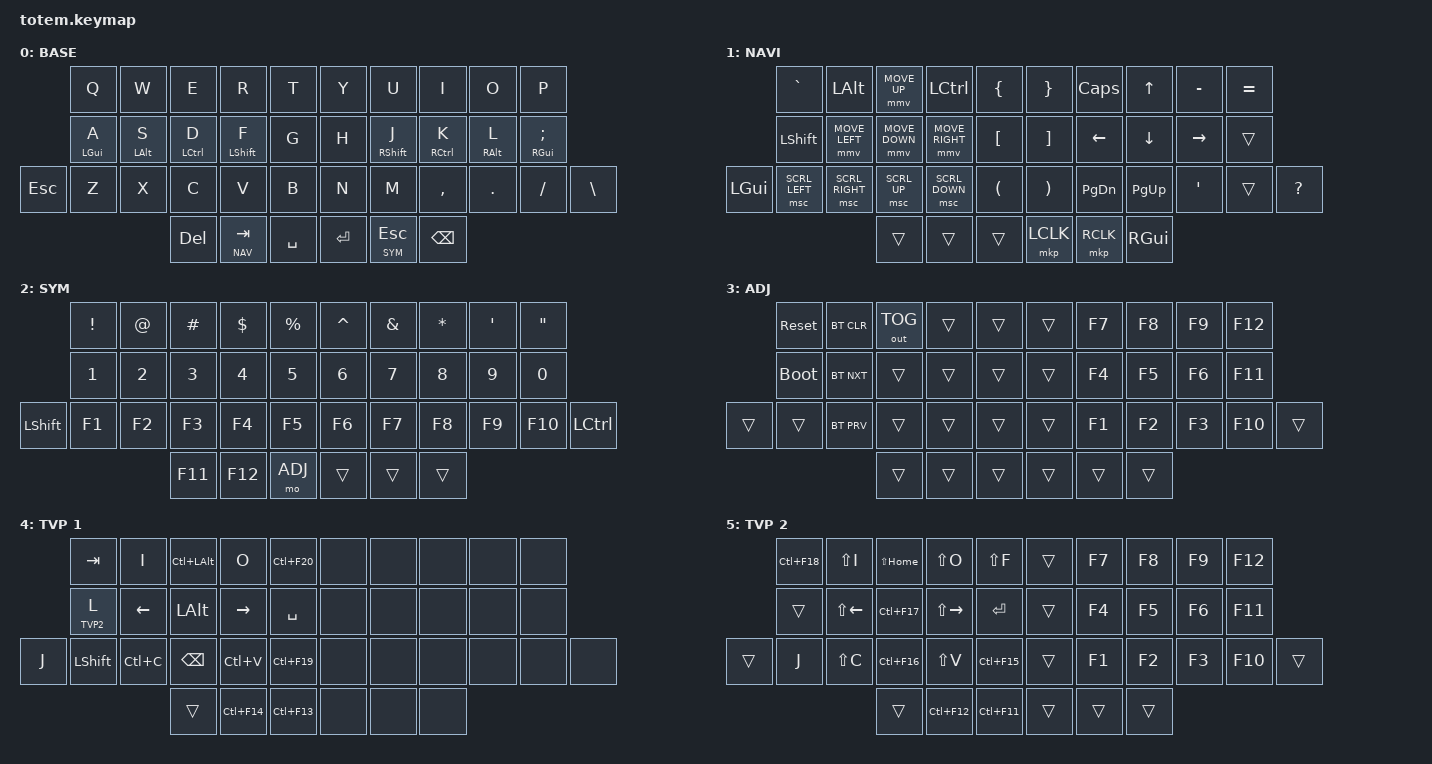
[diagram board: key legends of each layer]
//
//                                                        ▀▀▀▀▀     ▀▀▀▀▀          ▀▀█▀▀
//                                                        ▄▀▀▀▄  ▄  ▄▀▀▀▄  ▄  ▄▀▀▀▄  █  ▄▀▀▀▄
//                                                        █   █  █  █   █  █  █   █  █  █   █
//                                                         ▀▀▀   █   ▀▀▀   █   ▀▀▀   ▀   ▀▀▀
//                                                               █      ▄▄▄█▄▄▄    █   █  
//                                                               ▀      █  █  █     █▄█
//                                                             ▀▀▀▀▀    █  █  █      ▀
//                                                                      ▀  ▀  ▀
//
// ▄▄▄▄▄▄▄▄▄▄▄▄▄▄▄▄▄▄▄▄▄▄▄▄▄▄▄▄▄▄▄▄▄▄▄▄▄▄▄▄▄▄▄▄▄▄▄▄▄▄▄▄▄▄▄▄▄▄▄▄▄▄▄▄▄▄▄▄▄▄▄▄▄▄▄▄▄▄▄▄▄▄▄▄▄▄▄▄▄▄▄▄▄▄▄▄▄▄▄▄▄▄▄▄▄▄▄▄▄▄▄▄▄▄▄▄▄▄▄▄▄▄▄▄▄▄▄▄▄▄▄▄▄▄▄▄▄▄▄▄▄▄▄▄▄▄▄▄▄

#include <behaviors.dtsi>
#include <dt-bindings/zmk/bt.h>
#include <dt-bindings/zmk/keys.h>
#include <dt-bindings/zmk/outputs.h>
#include <dt-bindings/zmk/pointing.h>

#define BASE 0
#define NAV  1
#define SYM  2
#define ADJ  3
#define TVP1 4
#define TVP2 5

&mt {
    quick-tap-ms = <100>;
    global-quick-tap;
    flavor = "tap-preferred";
    tapping-term-ms = <170>;
};

/ {
    combos {
        compatible = "zmk,combos";

        combo_esc {
            timeout-ms = <50>;
            key-positions = <0 1>;
            bindings = <&kp ESC>;
        };

        combo_tvp {
            timeout-ms = <100>;
            key-positions = <11 12 13>;
            bindings = <&tog TVP1>;
        };
    };

    macros {
        gif: gif {
            label = "giphy";
            compatible = "zmk,behavior-macro";
            #binding-cells = <0>;
            bindings =
                <&macro_press>,
                <&kp LSHFT>,
                <&macro_tap>,
                <&kp N2>,
                <&macro_release>,
                <&kp LSHFT>,
                <&macro_tap>,
                <&kp G &kp I &kp F>;
        };
    };

    keymap {
        compatible = "zmk,keymap";

        // ▄▄▄▄▄▄▄▄▄▄▄▄▄▄▄▄▄▄▄▄▄▄▄▄▄▄▄▄▄▄▄▄▄▄▄▄▄▄▄▄▄▄▄▄▄▄▄▄▄▄▄▄▄▄▄▄▄▄▄▄▄▄▄▄▄▄▄▄▄▄▄▄▄▄▄▄▄▄▄▄▄▄▄▄▄▄▄▄▄▄▄▄▄▄▄▄▄▄▄▄▄▄▄▄▄▄▄▄▄▄▄▄▄▄▄▄▄▄▄▄▄▄▄▄▄▄▄▄▄▄▄▄▄▄▄▄▄▄▄▄▄▄▄▄▄▄▄▄▄

        base_layer {
            // ┏━━━━━━━━━━━━━━━━━━━━━━━━━━━━━━━━━━━━━━━┓

            label = "BASE";

            // ┗━━━━━━━━━━━━━━━━━━━━━━━━━━━━━━━━━━━━━━━┛
            //             ┏━━━━━━━━━━━┳━━━━━━━━━━━┳━━━━━━━━━━━┳━━━━━━━━━━━┳━━━━━━━━━━━┓   ┏━━━━━━━━━━━┳━━━━━━━━━━━┳━━━━━━━━━━━┳━━━━━━━━━━━┳━━━━━━━━━━━┓
            //             ┃     Q     ┃     W     ┃     E     ┃     R     ┃     T     ┃   ┃     Y     ┃     U     ┃     I     ┃     O     ┃     P     ┃
            //             ┣━━━━━━━━━━━╋━━━━━━━━━━━╋━━━━━━━━━━━╋━━━━━━━━━━━╋━━━━━━━━━━━┫   ┣━━━━━━━━━━━╋━━━━━━━━━━━╋━━━━━━━━━━━╋━━━━━━━━━━━╋━━━━━━━━━━━┫
            //             ┃  A (cmd)  ┃  S (alt)  ┃  D (ctrl) ┃ F (shift) ┃     G     ┃   ┃     H     ┃ J (shift) ┃  K (ctrl) ┃  L (alt)  ┃  ; (cmd)  ┃
            // ┏━━━━━━━━━━━╋━━━━━━━━━━━╋━━━━━━━━━━━╋━━━━━━━━━━━╋━━━━━━━━━━━╋━━━━━━━━━━━┫   ┣━━━━━━━━━━━╋━━━━━━━━━━━╋━━━━━━━━━━━╋━━━━━━━━━━━╋━━━━━━━━━━━╋━━━━━━━━━━━┓
            // ┃    ESC    ┃     Z     ┃     X     ┃     C     ┃     V     ┃     B     ┃   ┃     N     ┃     M     ┃   ,(<)    ┃   .(>)    ┃   /(?)    ┃   \(|)    ┃
            // ┗━━━━━━━━━━━┻━━━━━━━━━━━┻━━━━━━━━━━━╋━━━━━━━━━━━╋━━━━━━━━━━━╋━━━━━━━━━━━┫   ┣━━━━━━━━━━━╋━━━━━━━━━━━╋━━━━━━━━━━━╋━━━━━━━━━━━┻━━━━━━━━━━━┻━━━━━━━━━━━┛
            //                                     ┃    DEL    ┃   TAB(1)  ┃    SPC    ┃   ┃   ENTER   ┃   ESC(2)  ┃   BSPC    ┃
            //                                     ┗━━━━━━━━━━━┻━━━━━━━━━━━┻━━━━━━━━━━━┛   ┗━━━━━━━━━━━┻━━━━━━━━━━━┻━━━━━━━━━━━┛

            bindings = <
            &kp Q       &kp W       &kp E        &kp R        &kp T        &kp Y    &kp U        &kp I        &kp O       &kp P
            &mt LGUI A  &mt LALT S  &mt LCTRL D  &mt LSHFT F  &kp G        &kp H    &mt RSHFT J  &mt RCTRL K  &mt RALT L  &mt RGUI SEMI
&kp ESCAPE  &kp Z       &kp X       &kp C        &kp V        &kp B        &kp N    &kp M        &kp COMMA    &kp DOT     &kp SLASH       &kp BSLH
                                    &kp DEL      &lt NAV TAB  &kp SPACE    &kp RET  &lt SYM ESC  &kp BSPC
            >;
        };

        // ▄▄▄▄▄▄▄▄▄▄▄▄▄▄▄▄▄▄▄▄▄▄▄▄▄▄▄▄▄▄▄▄▄▄▄▄▄▄▄▄▄▄▄▄▄▄▄▄▄▄▄▄▄▄▄▄▄▄▄▄▄▄▄▄▄▄▄▄▄▄▄▄▄▄▄▄▄▄▄▄▄▄▄▄▄▄▄▄▄▄▄▄▄▄▄▄▄▄▄▄▄▄▄▄▄▄▄▄▄▄▄▄▄▄▄▄▄▄▄▄▄▄▄▄▄▄▄▄▄▄▄▄▄▄▄▄▄▄▄▄▄▄▄▄▄▄▄▄▄

        nav_layer {
            // ┏━━━━━━━━━━━━━━━━━━━━━━━━━━━━━━━━━━━━━━━┓

            label = "NAVI";

            // ┗━━━━━━━━━━━━━━━━━━━━━━━━━━━━━━━━━━━━━━━┛
            //             ┏━━━━━━━━━━━┳━━━━━━━━━━━┳━━━━━━━━━━━┳━━━━━━━━━━━┳━━━━━━━━━━━┓   ┏━━━━━━━━━━━┳━━━━━━━━━━━┳━━━━━━━━━━━┳━━━━━━━━━━━┳━━━━━━━━━━━┓
            //             ┃    ~(`)   ┃    ALT    ┃    M_UP   ┃   CTRL    ┃     {     ┃   ┃     }     ┃  CAPSLOCK ┃    UP     ┃   -(_)    ┃  = (+)    ┃
            //             ┣━━━━━━━━━━━╋━━━━━━━━━━━╋━━━━━━━━━━━╋━━━━━━━━━━━╋━━━━━━━━━━━┫   ┣━━━━━━━━━━━╋━━━━━━━━━━━╋━━━━━━━━━━━╋━━━━━━━━━━━╋━━━━━━━━━━━┫
            //             ┃   SHIFT   ┃   M_LEFT  ┃    M_DOWN ┃   M_RIGHT ┃     [     ┃   ┃     ]     ┃   LEFT    ┃    DOWN   ┃   RIGHT   ┃           ┃
            // ┏━━━━━━━━━━━╋━━━━━━━━━━━╋━━━━━━━━━━━╋━━━━━━━━━━━╋━━━━━━━━━━━╋━━━━━━━━━━━┫   ┣━━━━━━━━━━━╋━━━━━━━━━━━╋━━━━━━━━━━━╋━━━━━━━━━━━╋━━━━━━━━━━━╋━━━━━━━━━━━┓
            // ┃    CMD    ┃ SCRL_LEFT ┃ SCRL_RIGHT┃  SCRL_UP  ┃ SCRL_DOWN ┃     (     ┃   ┃     )     ┃  PG DOWN  ┃   PG UP   ┃   '(")    ┃           ┃     ?     ┃
            // ┗━━━━━━━━━━━┻━━━━━━━━━━━┻━━━━━━━━━━━╋━━━━━━━━━━━╋━━━━━━━━━━━╋━━━━━━━━━━━┫   ┣━━━━━━━━━━━╋━━━━━━━━━━━╋━━━━━━━━━━━╋━━━━━━━━━━━┻━━━━━━━━━━━┻━━━━━━━━━━━┛
            //                                     ┃           ┃    ---    ┃           ┃   ┃    MB1    ┃    MB2    ┃    CMD    ┃
            //                                     ┗━━━━━━━━━━━┻━━━━━━━━━━━┻━━━━━━━━━━━┛   ┗━━━━━━━━━━━┻━━━━━━━━━━━┻━━━━━━━━━━━┛

            bindings = <
         &kp GRAVE      &kp LALT        &mmv MOVE_UP   &kp LCTRL       &kp LBRC    &kp  RBRC  &kp  CAPS   &kp UP    &kp MINUS  &kp EQUAL
         &kp LSHFT      &mmv MOVE_LEFT  &mmv MOVE_DOWN &mmv MOVE_RIGHT &kp LBKT    &kp  RBKT  &kp  LEFT   &kp DOWN  &kp RIGHT  &trans
&kp LGUI &msc SCRL_LEFT &msc SCRL_RIGHT &msc SCRL_UP   &msc SCRL_DOWN  &kp LPAR    &kp  RPAR  &kp  PG_DN  &kp PG_UP &kp SQT    &trans  &kp QMARK
                                        &trans         &trans          &trans      &mkp LCLK  &mkp RCLK   &kp RGUI
            >;
        };

        // ▄▄▄▄▄▄▄▄▄▄▄▄▄▄▄▄▄▄▄▄▄▄▄▄▄▄▄▄▄▄▄▄▄▄▄▄▄▄▄▄▄▄▄▄▄▄▄▄▄▄▄▄▄▄▄▄▄▄▄▄▄▄▄▄▄▄▄▄▄▄▄▄▄▄▄▄▄▄▄▄▄▄▄▄▄▄▄▄▄▄▄▄▄▄▄▄▄▄▄▄▄▄▄▄▄▄▄▄▄▄▄▄▄▄▄▄▄▄▄▄▄▄▄▄▄▄▄▄▄▄▄▄▄▄▄▄▄▄▄▄▄▄▄▄▄▄▄▄▄

        sim_layer {
            // ┏━━━━━━━━━━━━━━━━━━━━━━━━━━━━━━━━━━━━━━━┓

            label = "SYM";

            // ┗━━━━━━━━━━━━━━━━━━━━━━━━━━━━━━━━━━━━━━━┛
            //             ┏━━━━━━━━━━━┳━━━━━━━━━━━┳━━━━━━━━━━━┳━━━━━━━━━━━┳━━━━━━━━━━━┓   ┏━━━━━━━━━━━┳━━━━━━━━━━━┳━━━━━━━━━━━┳━━━━━━━━━━━┳━━━━━━━━━━━┓
            //             ┃     !     ┃     @     ┃     #     ┃     $     ┃     %     ┃   ┃     ˆ     ┃     &     ┃     *     ┃     '     ┃     "     ┃
            //             ┣━━━━━━━━━━━╋━━━━━━━━━━━╋━━━━━━━━━━━╋━━━━━━━━━━━╋━━━━━━━━━━━┫   ┣━━━━━━━━━━━╋━━━━━━━━━━━╋━━━━━━━━━━━╋━━━━━━━━━━━╋━━━━━━━━━━━┫
            //             ┃     1     ┃     2     ┃     3     ┃     4     ┃     5     ┃   ┃     6     ┃     7     ┃     8     ┃      9    ┃     0     ┃
            // ┏━━━━━━━━━━━╋━━━━━━━━━━━╋━━━━━━━━━━━╋━━━━━━━━━━━╋━━━━━━━━━━━╋━━━━━━━━━━━┫   ┣━━━━━━━━━━━╋━━━━━━━━━━━╋━━━━━━━━━━━╋━━━━━━━━━━━╋━━━━━━━━━━━╋━━━━━━━━━━━┓
            // ┃   SHIFT   ┃    F1     ┃    F2     ┃    F3     ┃    F4     ┃    F5     ┃   ┃    F6     ┃    F7     ┃    F8     ┃    F9     ┃    F10    ┃   CTRL    ┃
            // ┗━━━━━━━━━━━┻━━━━━━━━━━━┻━━━━━━━━━━━╋━━━━━━━━━━━╋━━━━━━━━━━━╋━━━━━━━━━━━┫   ┣━━━━━━━━━━━╋━━━━━━━━━━━╋━━━━━━━━━━━╋━━━━━━━━━━━┻━━━━━━━━━━━┻━━━━━━━━━━━┛
            //                                     ┃    F11    ┃    F12    ┃    (3)    ┃   ┃           ┃    ---    ┃           ┃
            //                                     ┗━━━━━━━━━━━┻━━━━━━━━━━━┻━━━━━━━━━━━┛   ┗━━━━━━━━━━━┻━━━━━━━━━━━┻━━━━━━━━━━━┛
                 
            bindings = <
           &kp EXCL     &kp AT       &kp HASH   &kp DLLR  &kp PRCNT    &kp CARET     &kp AMPS        &kp STAR    &kp SQT     &kp DQT
           &kp N1       &kp N2       &kp N3     &kp N4    &kp N5       &kp N6        &kp N7          &kp N8      &kp N9      &kp N0
&kp LSHFT  &kp F1       &kp F2       &kp F3     &kp F4    &kp F5       &kp F6        &kp F7          &kp F8      &kp F9      &kp F10   &kp LCTRL
                                     &kp F11    &kp F12   &mo ADJ      &trans        &trans          &trans
            >;
        };

        // ▄▄▄▄▄▄▄▄▄▄▄▄▄▄▄▄▄▄▄▄▄▄▄▄▄▄▄▄▄▄▄▄▄▄▄▄▄▄▄▄▄▄▄▄▄▄▄▄▄▄▄▄▄▄▄▄▄▄▄▄▄▄▄▄▄▄▄▄▄▄▄▄▄▄▄▄▄▄▄▄▄▄▄▄▄▄▄▄▄▄▄▄▄▄▄▄▄▄▄▄▄▄▄▄▄▄▄▄▄▄▄▄▄▄▄▄▄▄▄▄▄▄▄▄▄▄▄▄▄▄▄▄▄▄▄▄▄▄▄▄▄▄▄▄▄▄▄▄▄

        adjust_layer {
            // ┏━━━━━━━━━━━━━━━━━━━━━━━━━━━━━━━━━━━━━━━┓

            label = "ADJ";

            // ┗━━━━━━━━━━━━━━━━━━━━━━━━━━━━━━━━━━━━━━━┛
            //             ┏━━━━━━━━━━━┳━━━━━━━━━━━┳━━━━━━━━━━━┳━━━━━━━━━━━┳━━━━━━━━━━━┓   ┏━━━━━━━━━━━┳━━━━━━━━━━━┳━━━━━━━━━━━┳━━━━━━━━━━━┳━━━━━━━━━━━┓
            //             ┃   RESET   ┃ BT CLEAR  ┃  OUT TOG  ┃           ┃           ┃   ┃           ┃    F7     ┃    F8     ┃    F9     ┃    F12    ┃
            //             ┣━━━━━━━━━━━╋━━━━━━━━━━━╋━━━━━━━━━━━╋━━━━━━━━━━━╋━━━━━━━━━━━┫   ┣━━━━━━━━━━━╋━━━━━━━━━━━╋━━━━━━━━━━━╋━━━━━━━━━━━╋━━━━━━━━━━━┫
            //             ┃ BOOTLOAD  ┃ BT NEXT   ┃           ┃           ┃           ┃   ┃           ┃    F4     ┃    F5     ┃    F6     ┃    F11    ┃
            // ┏━━━━━━━━━━━╋━━━━━━━━━━━╋━━━━━━━━━━━╋━━━━━━━━━━━╋━━━━━━━━━━━╋━━━━━━━━━━━┫   ┣━━━━━━━━━━━╋━━━━━━━━━━━╋━━━━━━━━━━━╋━━━━━━━━━━━╋━━━━━━━━━━━╋━━━━━━━━━━━┓
            // ┃           ┃           ┃ BT PREV   ┃           ┃           ┃           ┃   ┃           ┃    F1     ┃    F2     ┃    F3     ┃    F10    ┃           ┃
            // ┗━━━━━━━━━━━┻━━━━━━━━━━━┻━━━━━━━━━━━╋━━━━━━━━━━━╋━━━━━━━━━━━╋━━━━━━━━━━━┫   ┣━━━━━━━━━━━╋━━━━━━━━━━━╋━━━━━━━━━━━╋━━━━━━━━━━━┻━━━━━━━━━━━┻━━━━━━━━━━━┛
            //                                     ┃           ┃           ┃           ┃   ┃           ┃           ┃           ┃
            //                                     ┗━━━━━━━━━━━┻━━━━━━━━━━━┻━━━━━━━━━━━┛   ┗━━━━━━━━━━━┻━━━━━━━━━━━┻━━━━━━━━━━━┛

            bindings = <
        &sys_reset   &bt BT_CLR  &out OUT_TOG  &trans  &trans    &trans  &kp F7  &kp F8  &kp F9  &kp F12
        &bootloader  &bt BT_NXT  &trans        &trans  &trans    &trans  &kp F4  &kp F5  &kp F6  &kp F11
&trans  &trans       &bt BT_PRV  &trans        &trans  &trans    &trans  &kp F1  &kp F2  &kp F3  &kp F10  &trans
                                 &trans        &trans  &trans    &trans  &trans  &trans
            >;
        };

        // ▄▄▄▄▄▄▄▄▄▄▄▄▄▄▄▄▄▄▄▄▄▄▄▄▄▄▄▄▄▄▄▄▄▄▄▄▄▄▄▄▄▄▄▄▄▄▄▄▄▄▄▄▄▄▄▄▄▄▄▄▄▄▄▄▄▄▄▄▄▄▄▄▄▄▄▄▄▄▄▄▄▄▄▄▄▄▄▄▄▄▄▄▄▄▄▄▄▄▄▄▄▄▄▄▄▄▄▄▄▄▄▄▄▄▄▄▄▄▄▄▄▄▄▄▄▄▄▄▄▄▄▄▄▄▄▄▄▄▄▄▄▄▄▄▄▄▄▄▄

        tvp1_layer {
            // ┏━━━━━━━━━━━━━━━━━━━━━━━━━━━━━━━━━━━━━━━┓

            label = "TVP 1";

            // ┗━━━━━━━━━━━━━━━━━━━━━━━━━━━━━━━━━━━━━━━┛
            //             ┏━━━━━━━━━━━┳━━━━━━━━━━━┳━━━━━━━━━━━┳━━━━━━━━━━━┳━━━━━━━━━━━┓   ┏━━━━━━━━━━━┳━━━━━━━━━━━┳━━━━━━━━━━━┳━━━━━━━━━━━┳━━━━━━━━━━━┓
            //             ┃ NEXT FILE ┃ MARK IN   ┃ ROTATE    ┃ MARK OUT  ┃ SHOW SNAP ┃   ┃           ┃           ┃           ┃           ┃           ┃
            //             ┣━━━━━━━━━━━╋━━━━━━━━━━━╋━━━━━━━━━━━╋━━━━━━━━━━━╋━━━━━━━━━━━┫   ┣━━━━━━━━━━━╋━━━━━━━━━━━╋━━━━━━━━━━━╋━━━━━━━━━━━╋━━━━━━━━━━━┫
            //             ┃ TVP II    ┃ LEFT      ┃ PAN       ┃ RIGHT     ┃ PLAY/FLIP ┃   ┃           ┃           ┃           ┃           ┃           ┃
            // ┏━━━━━━━━━━━╋━━━━━━━━━━━╋━━━━━━━━━━━╋━━━━━━━━━━━╋━━━━━━━━━━━╋━━━━━━━━━━━┫   ┣━━━━━━━━━━━╋━━━━━━━━━━━╋━━━━━━━━━━━╋━━━━━━━━━━━╋━━━━━━━━━━━╋━━━━━━━━━━━┓
            // ┃ FULLSCR   ┃ SHIFT     ┃ COPY      ┃ DELETE    ┃ PASTE     ┃ IMG MARK  ┃   ┃           ┃           ┃           ┃           ┃           ┃           ┃
            // ┗━━━━━━━━━━━┻━━━━━━━━━━━┻━━━━━━━━━━━╋━━━━━━━━━━━╋━━━━━━━━━━━╋━━━━━━━━━━━┫   ┣━━━━━━━━━━━╋━━━━━━━━━━━╋━━━━━━━━━━━╋━━━━━━━━━━━┻━━━━━━━━━━━┻━━━━━━━━━━━┛
            //                                     ┃           ┃ UNDO/SAVE ┃  SEL/MOV  ┃   ┃           ┃           ┃           ┃
            //                                     ┗━━━━━━━━━━━┻━━━━━━━━━━━┻━━━━━━━━━━━┛   ┗━━━━━━━━━━━┻━━━━━━━━━━━┻━━━━━━━━━━━┛

            bindings = <
       &kp TAB     &kp I      &kp LC(LALT)  &kp O        &kp LC(F20)    &none  &none  &none  &none  &none
       &lt TVP2 L  &kp LEFT   &kp LALT      &kp RIGHT    &kp SPACE      &none  &none  &none  &none  &none
&kp J  &kp LSHFT   &kp LC(C)  &kp BSPC      &kp LC(V)    &kp LC(F19)    &none  &none  &none  &none  &none  &none
                              &trans        &kp LC(F14)  &kp LC(F13)    &none  &none  &none
            >;
        };

        // ▄▄▄▄▄▄▄▄▄▄▄▄▄▄▄▄▄▄▄▄▄▄▄▄▄▄▄▄▄▄▄▄▄▄▄▄▄▄▄▄▄▄▄▄▄▄▄▄▄▄▄▄▄▄▄▄▄▄▄▄▄▄▄▄▄▄▄▄▄▄▄▄▄▄▄▄▄▄▄▄▄▄▄▄▄▄▄▄▄▄▄▄▄▄▄▄▄▄▄▄▄▄▄▄▄▄▄▄▄▄▄▄▄▄▄▄▄▄▄▄▄▄▄▄▄▄▄▄▄▄▄▄▄▄▄▄▄▄▄▄▄▄▄▄▄▄▄▄▄

        tvp2_layer {
            // ┏━━━━━━━━━━━━━━━━━━━━━━━━━━━━━━━━━━━━━━━┓

            label = "TVP 2";

            // ┗━━━━━━━━━━━━━━━━━━━━━━━━━━━━━━━━━━━━━━━┛
            //             ┏━━━━━━━━━━━┳━━━━━━━━━━━┳━━━━━━━━━━━┳━━━━━━━━━━━┳━━━━━━━━━━━┓   ┏━━━━━━━━━━━┳━━━━━━━━━━━┳━━━━━━━━━━━┳━━━━━━━━━━━┳━━━━━━━━━━━┓
            //             ┃ SOLO      ┃ TOGGLE IN ┃ RESET ROT ┃ TOGGLE OUT┃ TAKE SNAP ┃   ┃           ┃           ┃           ┃           ┃           ┃
            //             ┣━━━━━━━━━━━╋━━━━━━━━━━━╋━━━━━━━━━━━╋━━━━━━━━━━━╋━━━━━━━━━━━┫   ┣━━━━━━━━━━━╋━━━━━━━━━━━╋━━━━━━━━━━━╋━━━━━━━━━━━╋━━━━━━━━━━━┫
            //             ┃ ---       ┃ LAST KEY  ┃ NEW KEY   ┃ NEXT KEY  ┃ ENTER     ┃   ┃           ┃           ┃           ┃           ┃           ┃
            // ┏━━━━━━━━━━━╋━━━━━━━━━━━╋━━━━━━━━━━━╋━━━━━━━━━━━╋━━━━━━━━━━━╋━━━━━━━━━━━┫   ┣━━━━━━━━━━━╋━━━━━━━━━━━╋━━━━━━━━━━━╋━━━━━━━━━━━╋━━━━━━━━━━━╋━━━━━━━━━━━┓
            // ┃           ┃ FULLSCR   ┃ CPY2BRUSH ┃ DEL HEAD  ┃ PSTinPLACE┃ BOOK MARK ┃   ┃           ┃           ┃           ┃           ┃           ┃           ┃
            // ┗━━━━━━━━━━━┻━━━━━━━━━━━┻━━━━━━━━━━━╋━━━━━━━━━━━╋━━━━━━━━━━━╋━━━━━━━━━━━┫   ┣━━━━━━━━━━━╋━━━━━━━━━━━╋━━━━━━━━━━━╋━━━━━━━━━━━┻━━━━━━━━━━━┻━━━━━━━━━━━┛
            //                                     ┃           ┃ REDO/SAV1 ┃TRANS/WARP ┃   ┃           ┃           ┃           ┃
            //                                     ┗━━━━━━━━━━━┻━━━━━━━━━━━┻━━━━━━━━━━━┛   ┗━━━━━━━━━━━┻━━━━━━━━━━━┻━━━━━━━━━━━┛

            bindings = <
        &kp LC(F18)  &kp LS(I)     &kp LS(HOME)  &kp LS(O)      &kp LS(F)      &trans  &kp F7  &kp F8  &kp F9  &kp F12
        &trans       &kp LS(LEFT)  &kp LC(F17)   &kp LS(RIGHT)  &kp RET        &trans  &kp F4  &kp F5  &kp F6  &kp F11
&trans  &kp J        &kp LS(C)     &kp LC(F16)   &kp LS(V)      &kp LC(F15)    &trans  &kp F1  &kp F2  &kp F3  &kp F10  &trans
                                   &trans        &kp LC(F12)    &kp LC(F11)    &trans  &trans  &trans
            >;
        };
    };
};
